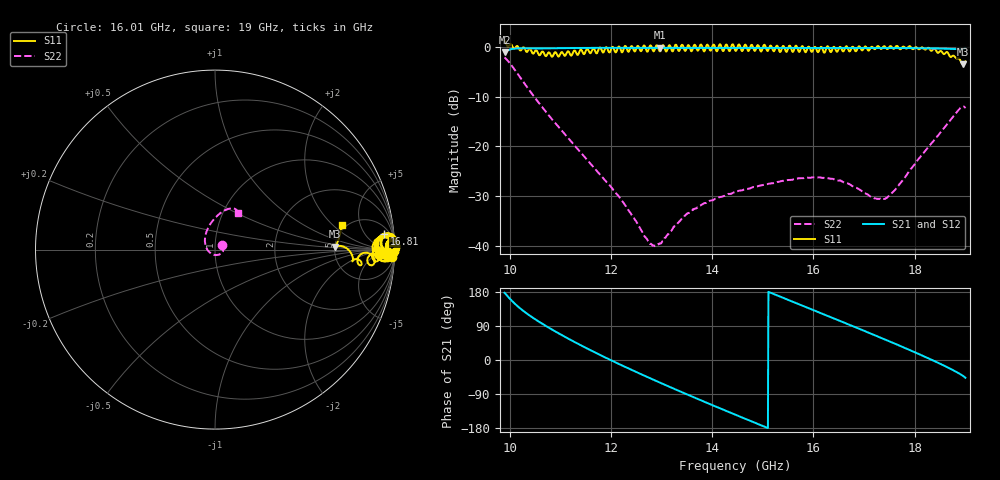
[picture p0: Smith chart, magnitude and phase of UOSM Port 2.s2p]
! RsaToolbox (C) 2015 Rohde & Schwarz America
! Number of points: 911
! Number of ports: 2
! Balanced ports?: No
# Hz S RI R 50
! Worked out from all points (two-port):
!   911 points, 9.9 GHz to 19 GHz, reference 50 ohm
!   highest |S21| = -0.13 dB at 12.97 GHz (marker M1); lowest = -1.0 dB at 9.9 GHz (marker M2)
!   |S21| within 3 dB of the highest: start of sweep to end of sweep
!   lowest |S11| = -3.5 dB at 18.95 GHz (marker M3), VSWR 5.07, Z = 252 + j15.4 ohm
!   |S11| at or under -10 dB: nowhere
!   |S22| runs from -40.1 to -2.1 dB; largest |S21 - S12| = 0
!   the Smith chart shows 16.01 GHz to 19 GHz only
!   S11 on the Smith chart (normalised r, x): 16.01 GHz: 16, -46; 16.81 GHz: 10, +16; 19 GHz: 4.60, +2.58
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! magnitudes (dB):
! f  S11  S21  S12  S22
! 9.9 GHz  1.3  -1.0  -1.0  -2.1
! 10.08 GHz  -0.3  -0.3  -0.3  -4.3
! 10.71 GHz  -1.8  -0.3  -0.3  -13.0
! 11.42 GHz  -0.6  -0.2  -0.2  -21.4
! 12.17 GHz  0.0  -0.1  -0.1  -30.3
! 12.74 GHz  -0.5  -0.1  -0.1  -39.1
! 12.85 GHz  -0.8  -0.1  -0.1  -40.0
! 12.94 GHz  -0.3  -0.1  -0.1  -39.7
! 12.97 GHz  -0.9  -0.1  -0.1  -39.6
! 13.28 GHz  0.5  -0.1  -0.1  -35.8
! 13.62 GHz  -0.2  -0.1  -0.1  -32.7
! 14.45 GHz  -0.5  -0.1  -0.1  -29.2
! 15.97 GHz  -0.9  -0.1  -0.1  -26.2
! 16.01 GHz  -0.1  -0.1  -0.1  -26.2
! 16.52 GHz  0.0  -0.1  -0.1  -26.9
! 16.81 GHz  -0.5  -0.1  -0.1  -28.2
! 17.22 GHz  -0.4  -0.2  -0.2  -30.5
! 17.49 GHz  -0.1  -0.2  -0.2  -29.9
! 18.39 GHz  -0.3  -0.3  -0.3  -18.6
! 18.64 GHz  -1.0  -0.3  -0.3  -15.5
! 18.95 GHz  -3.5  -0.4  -0.4  -12.0
! 19 GHz  -2.9  -0.2  -0.2  -12.3
